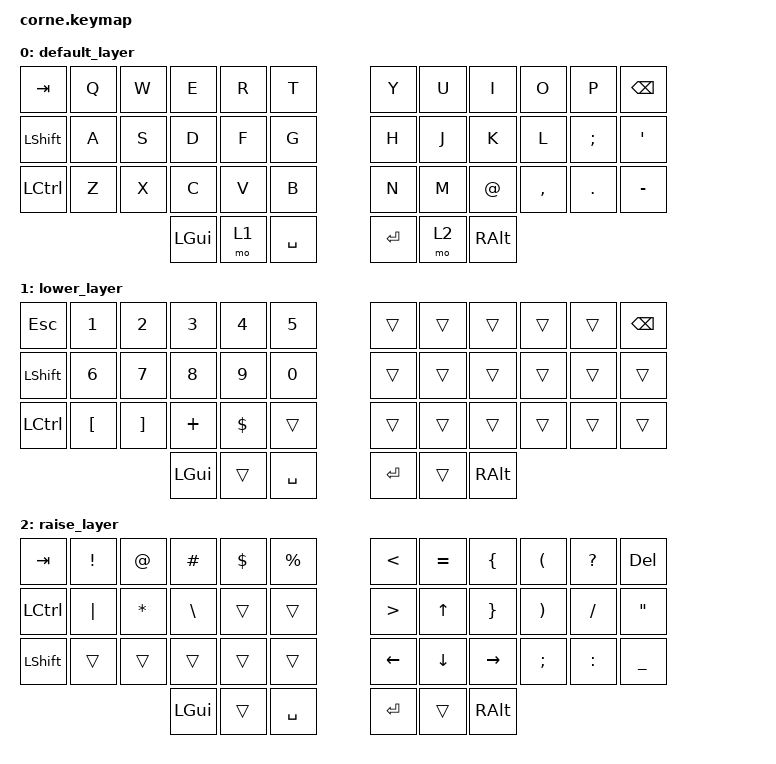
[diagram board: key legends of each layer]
/*
 * Copyright (c) 2020 The ZMK Contributors
 *
 * SPDX-License-Identifier: MIT
 */
#include <behaviors.dtsi>
#include <dt-bindings/zmk/keys.h>~#include <dt-bindings/zmk/bt.h>
/ {
        keymap {
                compatible = "zmk,keymap";
                default_layer {
// -----------------------------------------------------------------------------------------
// |  TAB |  Q  |  W  |  E  |  R  |  T  |   |  Y  |  U   |  I  |  O  |  P  | BSPC |
// | CTRL |  A  |  S  |  D  |  F  |  G  |   |  H  |  J   |  K  |  L  |  Ñ  |  '   |
// | SHFT |  Z  |  X  |  C  |  V  |  B  |   |  N  |  M   |  @  |  ,  |  .  |  -   |
//                    | GUI | LWR | SPC |   | ENT | RSE  | ALT |
                        bindings = <
   &kp TAB   &kp Q &kp W &kp E &kp R &kp T   &kp Y &kp U  &kp I  &kp O   &kp P    &kp BSPC
   &kp LSHFT &kp A &kp S &kp D &kp F &kp G   &kp H &kp J  &kp K  &kp L   &kp SEMI &kp SQT
   &kp LCTRL &kp Z &kp X &kp C &kp V &kp B   &kp N &kp M  &kp AT &kp COMMA &kp DOT &kp MINUS
                  &kp LGUI &mo 1 &kp SPACE   &kp RET &mo 2 &kp RALT
                        >;
               };
                lower_layer {
// -----------------------------------------------------------------------------------------
// | ESC   |  1  |  2  |  3  |  4  |  5  |   |  6  |  7  |  8  |  9  |  0  | BSPC |
// | LSHFT |  6  |  7  |  8  |  9  |  0  |   |     |     |     |     |     |      |
// | LCTRL |  [  |  ]  |  +  |  $  |     |   |     |     |     |     |     |      |
//                    | GUI |     | SPC |   | ENT |     | ALT |
                        bindings = <
   &kp ESC   &kp N1 &kp N2 &kp N3 &kp N4 &kp N5   &trans &trans &trans &trans &trans &kp BSPC
   &kp LSHFT &kp N6 &kp N7 &kp N8 &kp N9 &kp N0   &trans &trans &trans &trans &trans &trans 
   &kp LCTRL &kp LBKT &kp RBKT &kp PLUS &kp DLLR &trans  &trans &trans &trans &trans &trans &trans 
          &kp LGUI     &trans       &kp SPACE      &kp RET  &trans   &kp RALT
                        >;
                };
                raise_layer {
// -----------------------------------------------------------------------------------------
// | TAB  |  !  |  @  |  #  |  $  |  %  |   |  >  |  =  |  }  |  (  |  ?  |  DEL |
// | CTRL |  |  |  *  |  \  |     |     |   |  <  |  UP |  {  |  )  |  /  |  "   |
// | SHFT |     |     |     |     |     |   | LFT | DWN | RGT |  ;  |  :  |  _   |
//                    | GUI |     | SPC |   | ENT |     | ALT |
                        bindings = <
   &kp  TAB  &kp EXCL &kp AT    &kp HASH &kp DLLR &kp PRCNT   &kp LT   &kp EQUAL &kp LBRC  &kp LPAR &kp QMARK &kp DEL
   &kp LCTRL &kp PIPE &kp ASTRK &kp BSLH &trans   &trans      &kp GT   &kp UP    &kp RBRC  &kp RPAR &kp FSLH  &kp DQT
   &kp LSHFT &trans   &trans    &trans   &trans   &trans      &kp LEFT &kp DOWN  &kp RIGHT &kp SEMI &kp COLON &kp UNDER
                                &kp LGUI &trans   &kp SPACE   &kp RET   &trans    &kp RALT
                        >;
                };
       };
};
